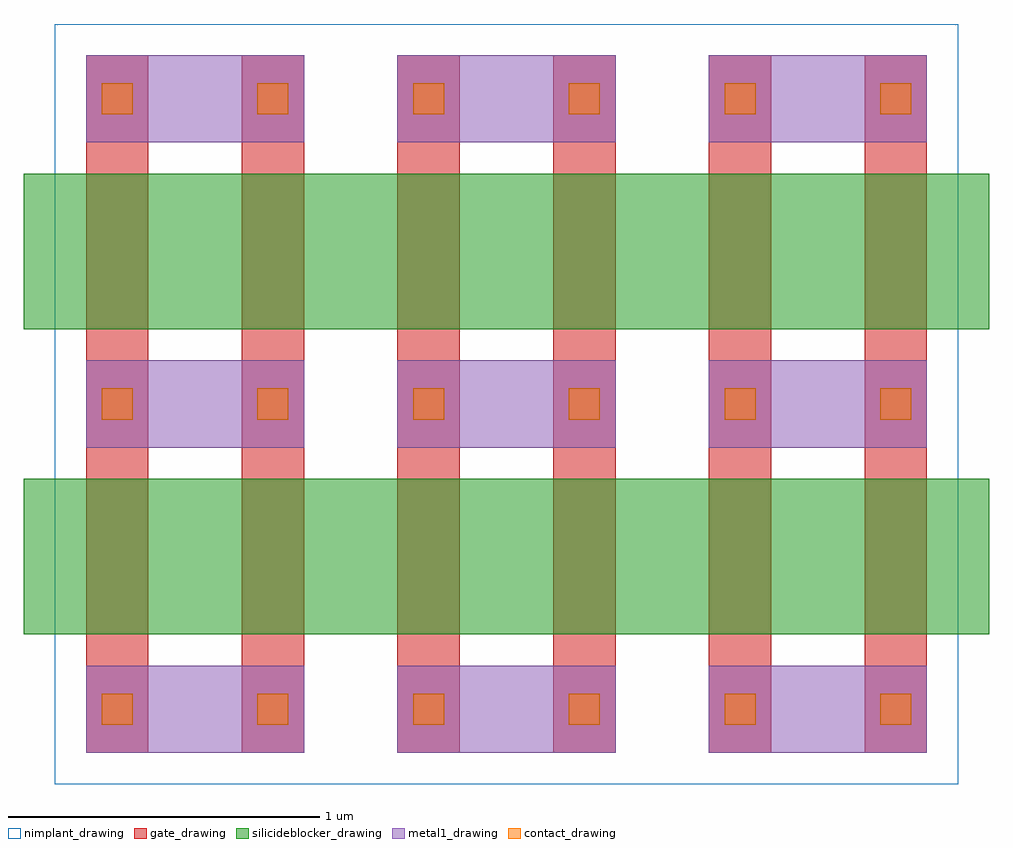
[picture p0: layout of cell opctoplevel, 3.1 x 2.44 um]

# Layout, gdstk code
import gdstk
lib = gdstk.Library(unit=1e-6, precision=1e-09)
def R(c, l, rs):  # rectangles x0, y0, x1, y1
    for r in rs: c.add(gdstk.rectangle(r[:2], r[2:], *l))
def A(c, l, x, y, w, h, nx, ny, dx, dy):  # array of equal rectangles
    R(c, l, [(x+i*dx, y+j*dy, x+i*dx+w, y+j*dy+h) for i in range(nx) for j in range(ny)])
nimplant_drawing = (5, 0)
gate_drawing = (6, 0)
contact_drawing = (7, 0)
metal1_drawing = (8, 0)
silicideblocker_drawing = (28, 0)

opctoplevel = lib.new_cell('opctoplevel')
R(opctoplevel, nimplant_drawing, [(-0.1,-0.1,2.8,2.34)])
A(opctoplevel, gate_drawing, 0, 0, 0.2, 2.24, 6, 1, 0.5, 0)
A(opctoplevel, gate_drawing, 0, 0, 0.2, 0.28, 6, 2, 0.5, 1.96)
A(opctoplevel, gate_drawing, 0, 0.98, 0.2, 0.28, 3, 1, 0.5, 0)
A(opctoplevel, gate_drawing, 1.5, 0.98, 0.2, 0.28, 3, 1, 0.5, 0)
R(opctoplevel, gate_drawing, [(1,0.98,1.2,1.26), (1.5,0.98,1.7,1.26)])
A(opctoplevel, contact_drawing, 0.05, 0.09, 0.1, 0.1, 6, 2, 0.5, 1.96)
A(opctoplevel, contact_drawing, 0.05, 1.07, 0.1, 0.1, 3, 1, 0.5, 0)
A(opctoplevel, contact_drawing, 1.55, 1.07, 0.1, 0.1, 3, 1, 0.5, 0)
R(opctoplevel, contact_drawing, [(1.05,1.07,1.15,1.17), (1.55,1.07,1.65,1.17)])
A(opctoplevel, metal1_drawing, 0, 0, 0.2, 0.28, 6, 2, 0.5, 1.96)
A(opctoplevel, metal1_drawing, 0, 0, 0.7, 0.28, 3, 2, 1, 1.96)
A(opctoplevel, metal1_drawing, 0, 0.98, 0.2, 0.28, 3, 1, 0.5, 0)
A(opctoplevel, metal1_drawing, 1.5, 0.98, 0.2, 0.28, 3, 1, 0.5, 0)
R(opctoplevel, metal1_drawing, [(0,0.98,0.7,1.26), (1,0.98,1.2,1.26), (1,0.98,1.7,1.26), (1,0.98,1.7,1.26), (1.5,0.98,1.7,1.26), (2,0.98,2.7,1.26)])
R(opctoplevel, silicideblocker_drawing, [(-0.2,0.38,2.9,0.88), (-0.2,1.36,2.9,1.86)])

lib.write_gds('opctoplevel.gds')
